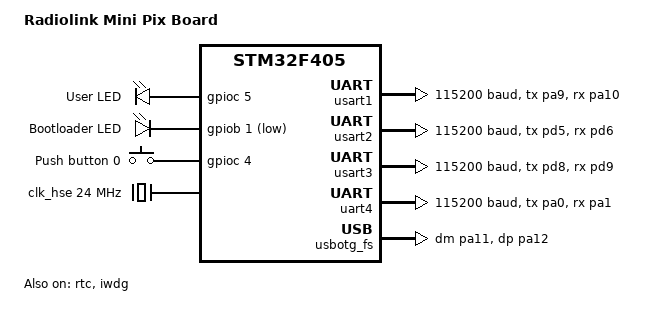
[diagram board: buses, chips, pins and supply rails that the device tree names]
/*
 * Copyright (c) 2024 Pavlo Yadvychuk
 *
 * SPDX-License-Identifier: Apache-2.0
 */

/dts-v1/;
#include <st/f4/stm32f405Xg.dtsi>
#include <st/f4/stm32f405vgtx-pinctrl.dtsi>
#include <zephyr/dt-bindings/input/input-event-codes.h>

/ {
	model = "Radiolink Mini Pix Board";
	compatible = "radiolink,mini_pix", "st,stm32f405";

	chosen {
		zephyr,console = &snippet_cdc_acm_console_uart;
		zephyr,shell-uart = &snippet_cdc_acm_console_uart;
		zephyr,uart-mcumgr = &usart2;
		zephyr,sram = &sram0;
		zephyr,flash = &flash0;
		zephyr,code-partition = &slot0_partition;
		zephyr,ccm = &ccm0;
	};

	soc {
		flash-controller@40023c00 {
			flash0: flash@8000000 {
				partitions {
					compatible = "fixed-partitions";
					#address-cells = <0x1>;
					#size-cells = <0x1>;

					boot_partition: partition@0 {
						reg = <0x0 0x10000>;
						read-only;
					};
					storage_partition: partition@1e000 {
						reg = <0x1e000 0x2000>;
					};
					slot0_partition: partition@20000 {
						reg = <0x20000 0x60000>;
					};
					slot1_partition: partition@80000 {
						reg = <0x80000 0x60000>;
					};
					scratch_partition: partition@e0000 {
						reg = <0xe0000 0x20000>;
					};
				};

			};
		};
	};


	leds: leds {
		compatible = "gpio-leds";
		led: led_0 {
			gpios = <&gpioc 5 GPIO_ACTIVE_HIGH>;
			label = "User LED";
		};
		boot_led: led_1 {
			gpios = <&gpiob 1 GPIO_ACTIVE_LOW>;
			label = "Bootloader LED";
		};

	};

	buttons {
		compatible = "gpio-keys";

		button0: button_0 {
			gpios = <&gpioc 4 (GPIO_PULL_DOWN | GPIO_ACTIVE_HIGH)>;
			label = "Push button 0";
			zephyr,code = <INPUT_KEY_0>;
		};
	};


	aliases {
		led0 = &led;
		mcuboot-led0 = &boot_led;
		mcuboot-button0 = &button0;
		sw0 = &button0;
		watchdog0 = &iwdg;
		sdhc0 = &sdmmc1;
	};
};

&clk_lsi {
	status = "okay";
};

&clk_hse {
	clock-frequency = <DT_FREQ_M(24)>;
	status = "okay";
};

&pll {
	div-m = <24>;
	mul-n = <336>;
	div-p = <2>;
	div-q = <7>;
	clocks = <&clk_hse>;
	status = "okay";
};

&rcc {
	clocks = <&pll>;
	clock-frequency = <DT_FREQ_M(168)>;
	ahb-prescaler = <1>;
	apb1-prescaler = <4>;
	apb2-prescaler = <2>;
};

&usart1 {
	pinctrl-0 = <&usart1_tx_pa9 &usart1_rx_pa10>;
	pinctrl-names = "default";
	current-speed = <115200>;
	status = "okay";
};

&usart2 {
	pinctrl-0 = <&usart2_tx_pd5 &usart2_rx_pd6>;
	pinctrl-names = "default";
	current-speed = <115200>;
	status = "okay";
};

&usart3 {
	pinctrl-0 = <&usart3_tx_pd8 &usart3_rx_pd9>;
	pinctrl-names = "default";
	current-speed = <115200>;
	status = "okay";
};

&uart4 {
	pinctrl-0 = <&uart4_tx_pa0 &uart4_rx_pa1>;
	pinctrl-names = "default";
	current-speed = <115200>;
	status = "okay";
};

/*
&i2c1 {
	pinctrl-0 = <&i2c1_scl_pb6 &i2c1_sda_pb7>;
	pinctrl-names = "default";
	status = "okay";
	clock-frequency = <I2C_BITRATE_FAST>;
};
*/
/*
&spi1 {
	pinctrl-0 = <&spi1_sck_pa5 &spi1_miso_pa6 &spi1_mosi_pa7>;
	pinctrl-names = "default";
	status = "okay";
};
*/
/*
&can1 {
	pinctrl-0 = <&can1_rx_pb8 &can1_tx_pb9>;
	pinctrl-names = "default";
	status = "okay";
};
*/
/*
&sdmmc1 {
	status = "okay";
	pinctrl-0 = <&sdio_d0_pc8 &sdio_d1_pc9
		     &sdio_d2_pc10 &sdio_d3_pc11
		     &sdio_ck_pc12 &sdio_cmd_pd2>;
	pinctrl-names = "default";
	cd-gpios = <&gpioa 8 (GPIO_ACTIVE_HIGH | GPIO_PULL_UP)>;
};
*/
&rtc {
	clocks = <&rcc STM32_CLOCK_BUS_APB1 0x10000000>,
		 <&rcc STM32_SRC_LSI RTC_SEL(2)>;
	status = "okay";
};

zephyr_udc0: &usbotg_fs {
	pinctrl-0 = <&usb_otg_fs_dm_pa11 &usb_otg_fs_dp_pa12>;
	pinctrl-names = "default";
	status = "okay";
	snippet_cdc_acm_console_uart: snippet_cdc_acm_console_uart {
		compatible = "zephyr,cdc-acm-uart";
	};
};

&iwdg {
	status = "okay";
};

&backup_sram {
	status = "okay";
};
